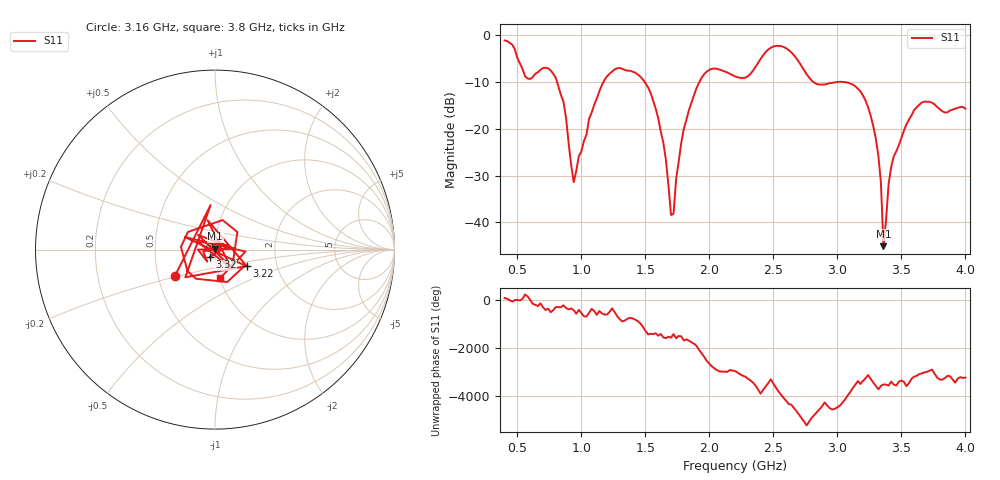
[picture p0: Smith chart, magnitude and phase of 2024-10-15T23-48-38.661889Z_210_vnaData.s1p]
! Created with skrf (http://scikit-rf.org).
# Hz S RI R 50.0
!freq ReS11 ImS11
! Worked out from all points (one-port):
!   181 points, 400 MHz to 4 GHz, reference 50 ohm
!   lowest |S11| = -45.1 dB at 3.36 GHz (marker M1), VSWR 1.01, Z = 50.2 + j0.538 ohm
!   |S11| at or under -10 dB: 809.3 MHz to 1.173 GHz (363.6 MHz wide, 36.7 % of centre); 1.493 GHz to 1.922 GHz (429.4 MHz wide, 25.1 % of centre); 3.024 GHz to end of sweep (the widest 3 of 4)
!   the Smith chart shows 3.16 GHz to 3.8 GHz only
!   S11 on the Smith chart (normalised r, x): 3.16 GHz: 0.61, -0.19; 3.22 GHz: 1.40, -0.27; 3.32 GHz: 0.94, -0.08; 3.8 GHz: 1.01, -0.33
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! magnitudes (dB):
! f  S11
! 400 MHz  -1.2
! 580 MHz  -9.3
! 760 MHz  -7.6
! 860 MHz  -14.2
! 940 MHz  -31.4
! 1.14 GHz  -12.0
! 1.3 GHz  -7.1
! 1.54 GHz  -12.3
! 1.64 GHz  -23.0
! 1.7 GHz  -38.4
! 1.72 GHz  -38.2
! 1.76 GHz  -27.1
! 1.84 GHz  -16.0
! 1.94 GHz  -9.1
! 2.2 GHz  -8.9
! 2.5 GHz  -2.5
! 2.66 GHz  -4.3
! 2.84 GHz  -10.5
! 3.1 GHz  -10.4
! 3.16 GHz  -11.5
! 3.22 GHz  -14.0
! 3.32 GHz  -25.8
! 3.34 GHz  -31.5
! 3.36 GHz  -45.1
! 3.42 GHz  -28.2
! 3.56 GHz  -18.0
! 3.8 GHz  -15.9
! 4 GHz  -15.7
